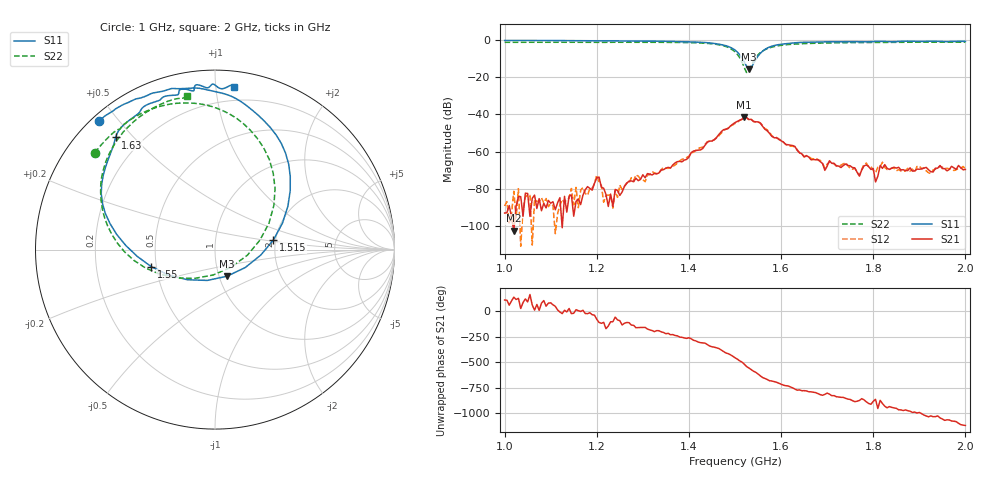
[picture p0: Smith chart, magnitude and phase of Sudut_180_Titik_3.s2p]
# Hz S RI R 50
! CMT, C1220, 16058040, 17.2.0/1
! Date: 14/08/2018 12:39:07
! Data: Format (Calibration Info)
! Freq  S11: Re/Im (F2)  S21: Re/Im (F2)  S12: Re/Im (F2)  S22: Re/Im (F2)
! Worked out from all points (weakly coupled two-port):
!   201 points, 1 GHz to 2 GHz, reference 50 ohm
!   highest |S21| = -41.49 dB at 1.52 GHz (marker M1); lowest = -102.5 dB at 1.02 GHz (marker M2)
!   lowest |S11| = -15.8 dB at 1.53 GHz (marker M3), VSWR 1.39, Z = 54.5 - j16.6 ohm
!   |S11| at or under -10 dB: 1.516 GHz to 1.547 GHz (30.67 MHz wide, 2 % of centre)
!   |S22| runs from -17.5 to -1.2 dB; largest |S21 - S12| = 0.00033
!   S11 on the Smith chart (normalised r, x): 1 GHz: 0.02, +0.44; 1.515 GHz: 1.95, +0.23; 1.55 GHz: 0.47, -0.10; 1.63 GHz: 0.11, +0.45; 2 GHz: 0.10, +1.11
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1e9  -0.6479 0.7144  -8.09e-06 2.07e-05  -3.45e-05 -1.6e-06  -0.6703 0.5397
1.02e9  -0.6272 0.7316  -5.64e-06 4.88e-06  -8.3e-05 2.03e-05  -0.6592 0.5527
1.17e9  -0.4755 0.8236  6.62e-05 1.18e-05  8.91e-05 -6.15e-05  -0.5586 0.6573
1.2e9  -0.4341 0.8407  3.91e-05 -0.000194  9.66e-05 -0.000211  -0.5297 0.6713
1.215e9  -0.4185 0.844  -3.33e-05 -9.78e-05  -4.32e-05 -5.54e-06  -0.5242 0.6792
1.255e9  -0.3504 0.871  -5.65e-05 -5.85e-05  -4.06e-05 -8.64e-05  -0.4856 0.7135
1.335e9  -0.2147 0.8966  -0.000261 4.96e-05  -0.00025 9.34e-05  -0.3741 0.7748
1.45e9  0.1849 0.7952  0.00187 0.000373  0.00192 0.00027  0.0171 0.785
1.5e9  0.4192 0.3293  -0.000719 -0.00593  -0.000648 -0.00562  0.3347 0.3404
1.515e9  0.3255 0.0538  -0.00551 -0.00482  -0.00544 -0.005  0.2509 0.0535
1.52e9  0.2554 -0.0302  -0.00786 -0.00302  -0.00791 -0.00313  0.1804 -0.0313
1.53e9  0.0669 -0.1483  -0.0069 0.00212  -0.00691 0.00216  -0.0102 -0.1416
1.55e9  -0.3552 -0.095  -0.00147 0.00608  -0.00174 0.00605  -0.3851 -0.1037
1.63e9  -0.5539 0.6249  0.000986 -0.00095  0.00101 -0.000868  -0.6158 0.4656
1.67e9  -0.437 0.7502  0.000148 -0.000592  0.000164 -0.000607  -0.5631 0.5827
1.77e9  -0.2349 0.8595  -0.000201 -8.54e-05  -0.000188 -0.000135  -0.4349 0.728
1.785e9  -0.2052 0.8638  -0.000431 -7.45e-05  -0.000482 -8.01e-05  -0.4159 0.7422
1.8e9  -0.2001 0.883  -0.000339 -8.66e-05  -0.00029 0.000114  -0.3975 0.7553
1.805e9  -0.1966 0.8895  -0.000125 -8.66e-05  -0.000231 0.000141  -0.3918 0.7598
1.815e9  -0.1805 0.8952  -0.000378 -0.000173  -0.000368 0.000119  -0.3801 0.7676
1.835e9  -0.1288 0.8849  -0.000265 0.000197  -0.000226 0.000244  -0.3564 0.7817
2e9  0.1032 0.9077  0.000244 -0.000224  0.000217 -0.000262  -0.1565 0.8541
